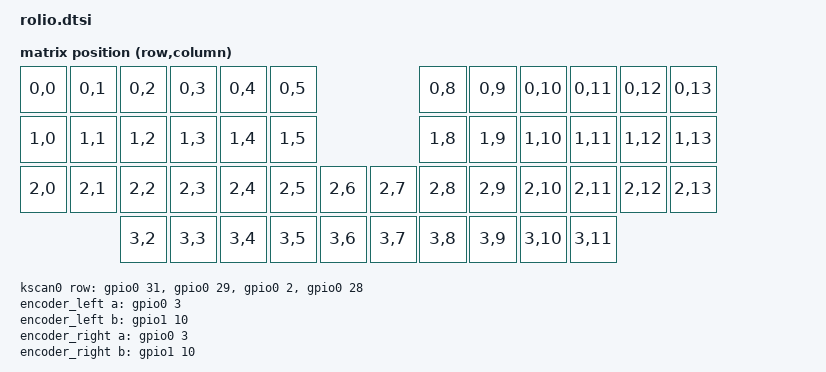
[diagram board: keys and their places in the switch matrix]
/*
 * Rolio ("Rolio Three") — shared shield devicetree.
 *
 * Pin assignments come from MickiusMousius/Rolio2Firmware branch `main`
 * (7-column matrix), NOT the choc2-revision* branches. Confirmed empirically
 * against this hardware on 2026-08-21 with a supermatrix diagnostic that
 * scanned every candidate pin from every branch at once:
 *
 *   rows  P0.31 P0.29 P0.02 P0.28
 *   cols  P1.02 P0.07 P0.04 P1.09 P0.05 P1.04 P0.09   (left, outer -> inner)
 *
 * The choc2-revision* branches use six columns on P0.05/P0.08/P1.09/P0.04/
 * P0.07/P0.24 with row3 on P1.13; on this board P0.08 and P0.24 are not wired
 * to the matrix at all, and P1.13 drives the underglow power gate.
 *
 * SPDX-License-Identifier: MIT
 */

#include <dt-bindings/zmk/matrix_transform.h>
#include <dt-bindings/led/led.h>
#include <dt-bindings/zmk/input_transform.h>
#include <input/processors.dtsi>
#include "rolio-layout.dtsi"

&rolio_layout {
    kscan = <&kscan0>;
    transform = <&default_transform>;
};

/ {
    /*
     * Swaps which emblem the vista508 shows. Declared HERE, in the shared
     * dtsi, rather than in vista508.overlay: only the left half carries the
     * display, but both halves compile the same keymap, so a node visible to
     * only one of them fails the other's build outright. The behaviour is a
     * no-op on the half with no screen -- see emblem_toggle.c.
     */
    behaviors {
        emblem_toggle: emblem_toggle {
            compatible = "zmk,behavior-emblem-toggle";
            #binding-cells = <0>;
        };
    };

    chosen {
        zmk,physical-layout = &rolio_layout;
        zmk,kscan = &kscan0;
        zmk,underglow = &led_strip;
        zmk,backlight = &underglow_power;
    };

    /*
     * 48 positions, but only six columns of keycaps. Column 6 holds just the
     * roller's push switch (RC(2,6) left / RC(2,7) right) and the wide inner
     * thumb key (RC(3,6) / RC(3,7)). Row 3 is the bottom row of four plus
     * that thumb key.
     */
    default_transform: keymap_transform_0 {
        compatible = "zmk,matrix-transform";
        columns = <14>;
        rows = <4>;
        map = <
RC(0,0) RC(0,1) RC(0,2) RC(0,3) RC(0,4) RC(0,5)                    RC(0,8) RC(0,9) RC(0,10) RC(0,11) RC(0,12) RC(0,13)
RC(1,0) RC(1,1) RC(1,2) RC(1,3) RC(1,4) RC(1,5)                    RC(1,8) RC(1,9) RC(1,10) RC(1,11) RC(1,12) RC(1,13)
RC(2,0) RC(2,1) RC(2,2) RC(2,3) RC(2,4) RC(2,5) RC(2,6)   RC(2,7)  RC(2,8) RC(2,9) RC(2,10) RC(2,11) RC(2,12) RC(2,13)
                RC(3,2) RC(3,3) RC(3,4) RC(3,5) RC(3,6)   RC(3,7)  RC(3,8) RC(3,9) RC(3,10) RC(3,11)
        >;
    };

    /* Rows are the same on both halves; the halves mirror in the columns. */
    kscan0: kscan {
        compatible = "zmk,kscan-gpio-matrix";
        wakeup-source;
        diode-direction = "col2row";
        row-gpios
            = <&gpio0 31 (GPIO_ACTIVE_HIGH | GPIO_PULL_DOWN)>
            , <&gpio0 29 (GPIO_ACTIVE_HIGH | GPIO_PULL_DOWN)>
            , <&gpio0 2 (GPIO_ACTIVE_HIGH | GPIO_PULL_DOWN)>
            , <&gpio0 28 (GPIO_ACTIVE_HIGH | GPIO_PULL_DOWN)>
            ;
    };

    /*
     * Roller encoders, one per half. P0.03 / P1.10 per the `main` branch.
     * P0.03 was previously claimed by EXT_POWER in the vendor's board file,
     * which is why these were disabled; the display's real power enable turned
     * out to be P1.11, freeing P0.03 for its actual purpose. Untested at the
     * time of writing -- verify the roller before trusting these.
     */
    encoder_left: encoder_left {
        compatible = "alps,ec11";
        a-gpios = <&gpio0 3 (GPIO_ACTIVE_HIGH | GPIO_PULL_UP)>;
        b-gpios = <&gpio1 10 (GPIO_ACTIVE_HIGH | GPIO_PULL_UP)>;
        steps = <30>;
        status = "disabled";
    };

    encoder_right: encoder_right {
        compatible = "alps,ec11";
        a-gpios = <&gpio0 3 (GPIO_ACTIVE_HIGH | GPIO_PULL_UP)>;
        b-gpios = <&gpio1 10 (GPIO_ACTIVE_HIGH | GPIO_PULL_UP)>;
        steps = <30>;
        status = "disabled";
    };

    /*
     * Registers the encoders with the keymap so `sensor-bindings` reach them.
     * Sensor index 0 is the left roller, 1 is the right; each half enables only
     * its own encoder, but both must be listed here so the indices line up
     * across the split.
     */
    sensors {
        compatible = "zmk,keymap-sensors";
        sensors = <&encoder_left &encoder_right>;
        triggers-per-rotation = <15>;
    };

    /* Not a backlight: this PWM channel gates power to the underglow strip. */
    underglow_power: underglow_power {
        compatible = "pwm-leds";
        underglow_power {
            pwms = <&pwm0 0 10000 PWM_POLARITY_NORMAL>;
        };
    };

    /* The right half owns the trackpad; the central receives its events
       through this split-input proxy. The right overlay fills in `device`. */
    split_inputs {
        #address-cells = <1>;
        #size-cells = <0>;

        glidepoint_split: glidepoint_split@0 {
            compatible = "zmk,input-split";
            reg = <0>;
        };
    };

    /* Enabled by rolio_left.overlay: only the central turns trackpad events
       into pointer movement. zip_scroll_scaler is ZMK's own, from
       zmk/app/dts/input/processors/scaler.dtsi. */
    glidepoint_listener: glidepoint_listener {
        compatible = "zmk,input-listener";
        status = "disabled";
        device = <&glidepoint_split>;
        input-processors = <&zip_xy_scaler 1 1>;

        scroller {
            layers = <8>;    /* NAVIGATION held -> trackpad scrolls */
            input-processors = <
                &zip_xy_to_scroll_mapper
                &zip_scroll_scaler 1 20
                &zip_scroll_transform INPUT_TRANSFORM_X_INVERT
            >;
        };
    };
};

&i2c0 {
    status = "disabled";
};

&pinctrl {
    spi2_default: spi2_default {
        group1 {
            /* P0.27 is not connected on the e73 module and is high speed. */
            psels = <NRF_PSEL(SPIM_SCK, 0, 27)>,
                <NRF_PSEL(SPIM_MOSI, 0, 13)>;
        };
    };

    spi2_sleep: spi2_sleep {
        group1 {
            psels = <NRF_PSEL(SPIM_SCK, 0, 27)>,
                <NRF_PSEL(SPIM_MOSI, 0, 13)>;
            low-power-enable;
        };
    };
};

&spi2 {
    compatible = "nordic,nrf-spim";
    status = "okay";

    pinctrl-0 = <&spi2_default>;
    pinctrl-1 = <&spi2_sleep>;
    pinctrl-names = "default", "sleep";

    led_strip: ws2812@0 {
        compatible = "worldsemi,ws2812-spi";

        reg = <0>; /* ignored, but necessary for SPI bindings */
        spi-max-frequency = <4000000>;

        chain-length = <23>; /* number of LEDs */
        spi-one-frame = <0x70>;
        spi-zero-frame = <0x40>;
        color-mapping = <LED_COLOR_ID_GREEN
                         LED_COLOR_ID_RED
                         LED_COLOR_ID_BLUE>;
    };
};
